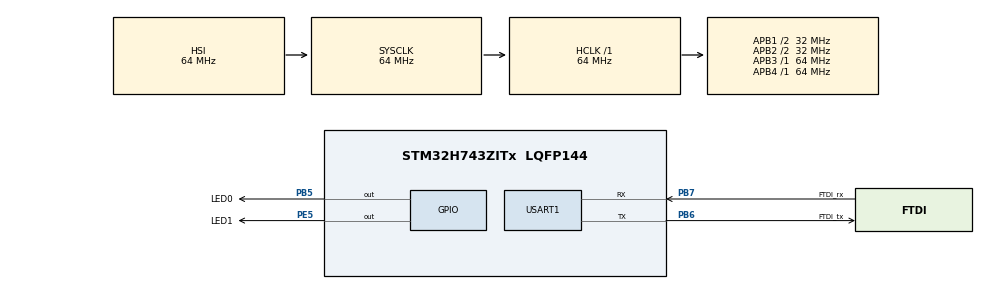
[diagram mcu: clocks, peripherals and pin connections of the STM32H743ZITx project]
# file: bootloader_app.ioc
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Mcu.Family=STM32H7
Mcu.Name=STM32H743ZITx
Mcu.Package=LQFP144
NVIC.PriorityGroup=NVIC_PRIORITYGROUP_4
NVIC.USART1_IRQn=true\:1\:0\:true\:false\:true\:true\:true\:true
PA13\ (JTMS/SWDIO).Mode=Serial_Wire
PA13\ (JTMS/SWDIO).Signal=DEBUG_JTMS-SWDIO
PA14\ (JTCK/SWCLK).Mode=Serial_Wire
PA14\ (JTCK/SWCLK).Signal=DEBUG_JTCK-SWCLK
PB5.GPIO_Label=LED0
PB5.PinState=GPIO_PIN_RESET
PB5.Signal=GPIO_Output
PB6.GPIO_Label=FTDI_tx
PB6.Mode=Asynchronous
PB6.Signal=USART1_TX
PB7.GPIO_Label=FTDI_rx
PB7.Mode=Asynchronous
PB7.Signal=USART1_RX
PE5.GPIO_Label=LED1
PE5.PinState=GPIO_PIN_SET
PE5.Signal=GPIO_Output
ProjectManager.HeapSize=0x200
ProjectManager.StackSize=0x400
ProjectManager.TargetToolchain=Makefile
RCC.ADCFreq_Value=129000000
RCC.APB1Freq_Value=32000000
RCC.APB2Freq_Value=32000000
RCC.APB3Freq_Value=64000000
RCC.APB4Freq_Value=64000000
RCC.CortexFreq_Value=64000000
RCC.D2PPRE1=RCC_APB1_DIV2
RCC.D2PPRE2=RCC_APB2_DIV2
RCC.HCLKFreq_Value=64000000
RCC.SYSCLKFreq_VALUE=64000000
RCC.USBFreq_Value=129000000
TIM2.Period=4294967296-1
TIM2.Prescaler=64000-1
USART1.VirtualMode-Asynchronous=VM_ASYNC
VP_TIM2_VS_ClockSourceINT.Mode=Internal
board=custom

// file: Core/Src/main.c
/* USER CODE BEGIN Header */
/**
  ******************************************************************************
  * @file           : main.c
  * @brief          : Main program body
  ******************************************************************************
  * @attention
  *
  * Copyright (c) 2022 STMicroelectronics.
  * All rights reserved.
  *
  * This software is licensed under terms that can be found in the LICENSE file
  * in the root directory of this software component.
  * If no LICENSE file comes with this software, it is provided AS-IS.
  *
  ******************************************************************************
  */
/* USER CODE END Header */
#include "main.h"
#include "tim.h"
#include "usart.h"
#include "gpio.h"

/* USER CODE BEGIN Includes */
#include "bootloader.h"
#include "frame.h"
#include "variable.h"
#include "constant.h"
/* USER CODE END Includes */

void SystemClock_Config(void);
/* USER CODE BEGIN PFP */
void switch_main_state(uint8_t main_status,uint8_t sub_status)
{
	old_bootloader_state = bootloader_state;
	bootloader_state.Main_State = main_status;
	bootloader_state.Sub_State = sub_status;
	bootloader_state.Ex_Sub_State = 0;
}
void switch_sub_state(OP_STATE* S, uint8_t D)
{
	S->Ex_Sub_State = S->Sub_State;
	S->Sub_State = D;
}
void switch_to_ex_sub_state(OP_STATE* S)
{
	uint8_t temp = 0;
	temp = S->Sub_State;
	S->Sub_State = S->Ex_Sub_State;
	S->Ex_Sub_State = temp;
}
/* USER CODE END PFP */

/* USER CODE BEGIN 0 */
unsigned char ch = 0;
/* USER CODE END 0 */

int main(void)
{

  /* MCU Configuration--------------------------------------------------------*/

  /* Reset of all peripherals, Initializes the Flash interface and the Systick. */
  HAL_Init();

  /* Configure the system clock */
  SystemClock_Config();

  /* Initialize all configured peripherals */
  MX_GPIO_Init();
  MX_USART1_UART_Init();
  MX_TIM2_Init();
  /* USER CODE BEGIN 2 */
  HAL_TIM_Base_Start(&htim2);
  HAL_UART_Receive_IT(&huart1,(uint8_t*)&ch,1);
  bootloader_main();
  /* USER CODE END 2 */

  /* Infinite loop */
  while (1)
  {

  }
}

void SystemClock_Config(void)
{
  RCC_OscInitTypeDef RCC_OscInitStruct = {0};
  RCC_ClkInitTypeDef RCC_ClkInitStruct = {0};

  /** Supply configuration update enable
  */
  HAL_PWREx_ConfigSupply(PWR_LDO_SUPPLY);

  /** Configure the main internal regulator output voltage
  */
  __HAL_PWR_VOLTAGESCALING_CONFIG(PWR_REGULATOR_VOLTAGE_SCALE3);

  while(!__HAL_PWR_GET_FLAG(PWR_FLAG_VOSRDY)) {}

  /** Initializes the RCC Oscillators according to the specified parameters
  * in the RCC_OscInitTypeDef structure.
  */
  RCC_OscInitStruct.OscillatorType = RCC_OSCILLATORTYPE_HSI;
  RCC_OscInitStruct.HSIState = RCC_HSI_DIV1;
  RCC_OscInitStruct.HSICalibrationValue = RCC_HSICALIBRATION_DEFAULT;
  RCC_OscInitStruct.PLL.PLLState = RCC_PLL_NONE;
  if (HAL_RCC_OscConfig(&RCC_OscInitStruct) != HAL_OK)
  {
    Error_Handler();
  }

  /** Initializes the CPU, AHB and APB buses clocks
  */
  RCC_ClkInitStruct.ClockType = RCC_CLOCKTYPE_HCLK|RCC_CLOCKTYPE_SYSCLK
                              |RCC_CLOCKTYPE_PCLK1|RCC_CLOCKTYPE_PCLK2
                              |RCC_CLOCKTYPE_D3PCLK1|RCC_CLOCKTYPE_D1PCLK1;
  RCC_ClkInitStruct.SYSCLKSource = RCC_SYSCLKSOURCE_HSI;
  RCC_ClkInitStruct.SYSCLKDivider = RCC_SYSCLK_DIV1;
  RCC_ClkInitStruct.AHBCLKDivider = RCC_HCLK_DIV1;
  RCC_ClkInitStruct.APB3CLKDivider = RCC_APB3_DIV1;
  RCC_ClkInitStruct.APB1CLKDivider = RCC_APB1_DIV2;
  RCC_ClkInitStruct.APB2CLKDivider = RCC_APB2_DIV2;
  RCC_ClkInitStruct.APB4CLKDivider = RCC_APB4_DIV1;

  if (HAL_RCC_ClockConfig(&RCC_ClkInitStruct, FLASH_LATENCY_1) != HAL_OK)
  {
    Error_Handler();
  }
}

/* USER CODE BEGIN 4 */
void HAL_UART_RxCpltCallback(UART_HandleTypeDef *huart)
{
  /* Prevent unused argument(s) compilation warning */
	if(huart->Instance == USART1)
	{
		recv_buf[recv_uart_counter++] = ch;
		if(recv_uart_counter == 1)
		{
			bootloader_flag = bit_on(bootloader_flag,FirstByteRecv);
      serial_port_timer = Get_Timer_1_ms_Base;
		}
		HAL_UART_Receive_IT(&huart1,(uint8_t*)&ch,1);
	}
}
/* USER CODE END 4 */

void Error_Handler(void)
{
  __disable_irq();
  while (1)
  {
  }
}
